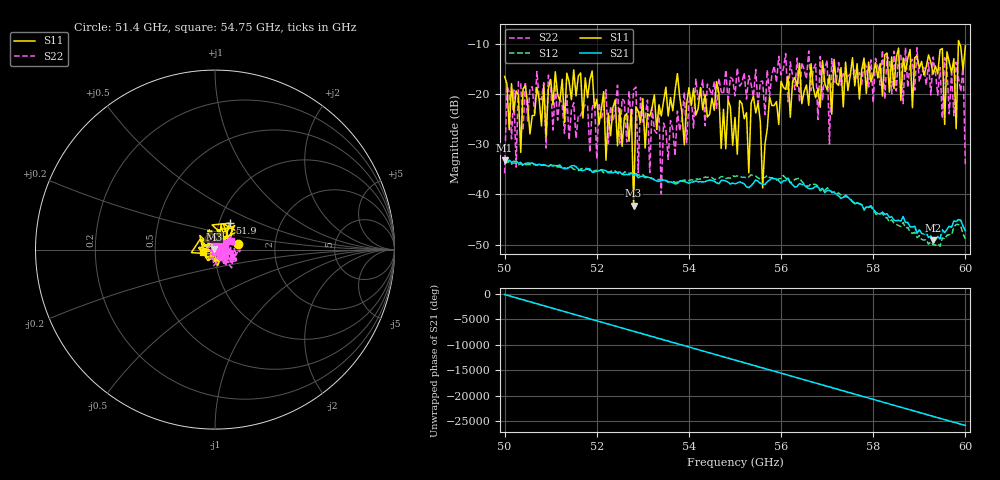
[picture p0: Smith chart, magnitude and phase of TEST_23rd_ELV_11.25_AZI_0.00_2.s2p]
! 11/23/2026 3:03:55 PM
! C:\ANRITSUVNA\TEMP\TEMP.S2P
! CHANNEL.1
! TR.MEASUREMENT
! RAW.DATA
# HZ S RI R 50.0
! FREQ.HZ  S11RE  S11IM  S21RE  S21IM  S12RE  S12IM  S22RE  S22IM
!; PortSelection: Port_12
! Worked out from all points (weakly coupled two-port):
!   201 points, 50 GHz to 60 GHz, reference 50 ohm
!   highest |S21| = -33.18 dB at 50 GHz (marker M1); lowest = -49.1 dB at 59.3 GHz (marker M2)
!   lowest |S11| = -42.2 dB at 52.8 GHz (marker M3), VSWR 1.02, Z = 49.3 + j0.274 ohm
!   |S11| at or under -10 dB: start of sweep to 59.85 GHz; 59.87414 GHz to end of sweep
!   |S22| runs from -39.8 to -10.8 dB; largest |S21 - S12| = 0.033
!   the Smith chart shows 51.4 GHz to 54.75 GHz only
!   S11 on the Smith chart (normalised r, x): 51.4 GHz: 1.29, +0.09; 51.9 GHz: 1.12, +0.34; 54.75 GHz: 0.87, -0.03
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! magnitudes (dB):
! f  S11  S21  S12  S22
! 50 GHz  -16.5  -33.2  -33.2  -35.8
! 50.05 GHz  -18.0  -33.6  -33.7  -18.4
! 51.4 GHz  -17.7  -34.6  -34.5  -29.2
! 51.7 GHz  -24.8  -35.2  -34.8  -22.9
! 51.9 GHz  -15.5  -35.6  -35.5  -23.0
! 52.75 GHz  -23.1  -35.8  -35.7  -26.0
! 52.8 GHz  -42.2  -36.1  -36.1  -19.1
! 52.85 GHz  -22.6  -36.0  -35.8  -18.7
! 52.9 GHz  -23.5  -36.7  -36.2  -35.7
! 53.35 GHz  -22.2  -37.4  -37.0  -23.6
! 53.4 GHz  -24.4  -37.3  -37.0  -39.8
! 54.75 GHz  -23.1  -37.2  -36.5  -20.0
! 55 GHz  -24.7  -37.9  -36.4  -20.4
! 55.6 GHz  -38.7  -38.0  -36.7  -17.5
! 55.75 GHz  -20.6  -37.1  -36.7  -20.4
! 56.7 GHz  -18.8  -38.7  -38.0  -15.1
! 57.05 GHz  -16.3  -39.2  -38.9  -30.0
! 57.1 GHz  -24.0  -39.5  -39.6  -13.0
! 58.35 GHz  -19.7  -44.6  -45.5  -13.2
! 59.3 GHz  -16.0  -49.1  -50.0  -12.7
! 59.95 GHz  -15.3  -46.3  -47.9  -14.1
! 60 GHz  -10.5  -47.2  -48.8  -34.5
